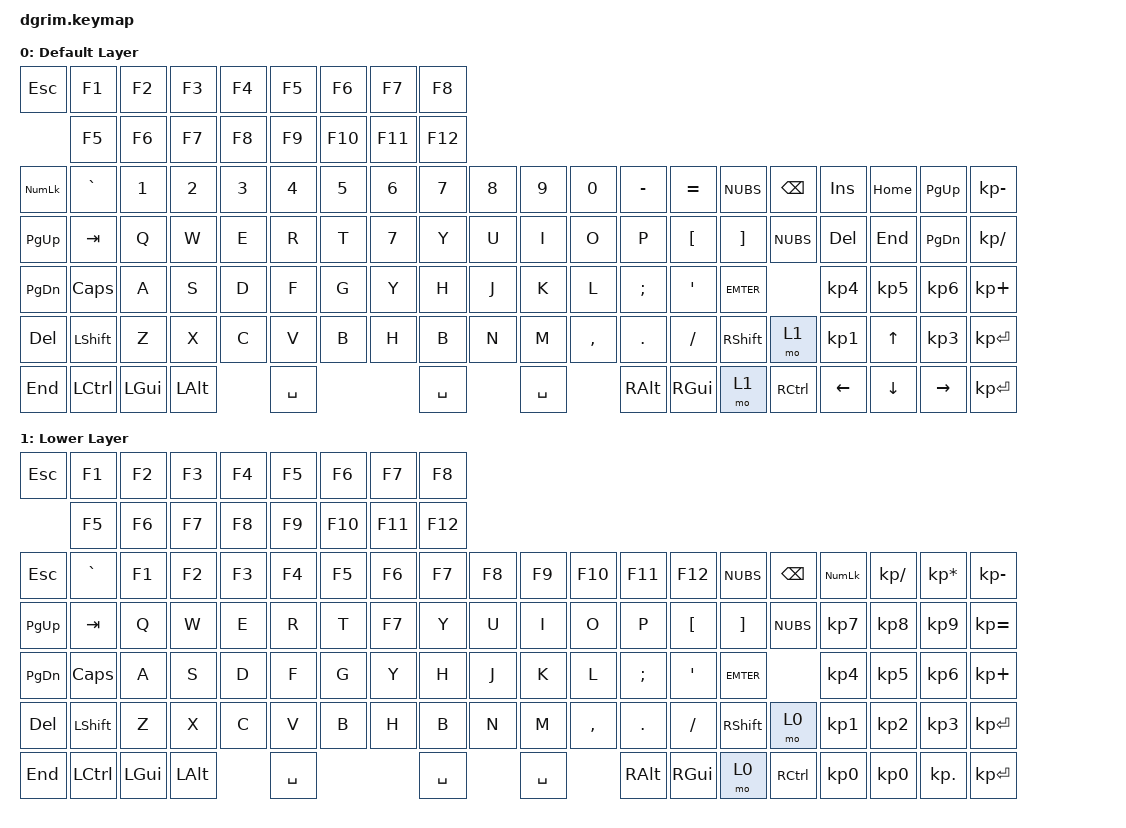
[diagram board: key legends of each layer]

/*
 * Copyright (c) 2020 The ZMK Contributors
 *
 * SPDX-License-Identifier: MIT
 */

#include <behaviors.dtsi>
#include <dt-bindings/zmk/keys.h>
#include <dt-bindings/zmk/bt.h>

/ {
        keymap {
                compatible = "zmk,keymap";

                default_layer {  //  LAYER 0
                  display-name = "Default Layer";
// -----------------------------------------------------------------------------------------
// | ESC |  F1  |  F2  |  F3  |  F4  |  F5  | F6  |  F7   |  F8  |
// |     |  F5  |  F6  |  F7  |  F8  |  F9  | F10 |  F11  |  F12 |

// | NUM |  `  |  1  |  2  |  3  |  4  |  5  |  6   |            |  7  |  8  |  9  |  0  |  -  |  =  |  `  | BSPC |        | INS | HOM | PU  | - |
// |  PU | TAB |  Q  |  W  |  E  |  R  |  T  |  7   |            |  Y  |  U  |  I  |  O  |  P  |  [  |  ]  |   \  |        | DEL | END | PD  | / |
// |  PD | CAP |  A  |  S  |  D  |  F  |  G  |  Y   |            |  H  |  J  |  K  |  L  |  ;  |  '  | ENT |               |  4  |  5  |  6  | + |
// | DEL | SHF |  Z  |  X  |  C  |  V  |  B  |  H   |            |  B  |  N  |  M  |  ,  |  .  |  /  | SHF |  FN  |        |  1  |  UP |  3  | ENT |
// | END | CRT | WIN | ALT |     | SPA |                         | SPA | SPA | ALT |     |     | MENU| FN  |  CRT |        | LEFT| DOWN|RIGHT| ENT |

                        bindings = <
   &kp ESC   &kp F1  &kp F2  &kp F3  &kp F4   &kp F5  &kp F6   &kp F7   &kp F8     
             &kp F5  &kp F6  &kp F7  &kp F8   &kp F9  &kp F10  &kp F11  &kp F12    
   
   &kp KP_NUM  &kp GRAVE &kp 1    &kp 2   &kp 3 &kp 4   &kp 5  &kp 6           &kp 7   &kp 8   &kp 9   &kp 0     &kp MINUS  &kp EQUAL  &kp NUBS   &kp BSPC         &kp INS    &kp HOME   &kp PG_UP   &kp KP_MINUS     
   &kp PG_UP   &kp TAB   &kp Q    &kp W   &kp E &kp R   &kp T  &kp 7           &kp Y   &kp U   &kp I   &kp O     &kp P      &kp LBKT   &kp RBKT   &kp NUBS         &kp DEL    &kp END    &kp PG_DN   &kp KP_DIVIDE  
   &kp PG_DN   &kp CAPS  &kp A    &kp S   &kp D &kp F   &kp G  &kp Y           &kp H   &kp J   &kp K   &kp L     &kp SEMI   &kp APOS   &kp EMTER                   &kp KP_N4  &kp KP_N5  &kp KP_N6   &kp KP_PLUS 
   &kp DEL     &kp LSHFT &kp Z    &kp X   &kp C &kp V   &kp B  &kp H           &kp B   &kp N   &kp M   &kp COMMA &kp DOT    &kp FSLH   &kp RSHFT  &mo 1            &kp KP_N1  &kp UP     &kp KP_N3   &kp KP_ENTER 
   &kp END     &kp LCTRL &kp LGUI &kp LALT      &kp SPACE                      &kp SPACE       &kp SPACE         &kp RALT   &kp RGUI   &mo 1      &kp RCTRL        &kp LEFT   &kp DOWN   &kp RIGHT   &kp KP_ENTER
                                    >;
                        };


                lower_layer {    // LAYER 1
                  display-name = "Lower Layer";
// -----------------------------------------------------------------------------------------
// | ESC |  F1  |  F2  |  F3  |  F4  |  F5  | F6  |  F7   |  F8  |
// |     |  F5  |  F6  |  F7  |  F8  |  F9  | F10 |  F11  |  F12 |

// | NUM |  `  |  1  |  2  |  3  |  4  |  5  |  6   |            |  7  |  8  |  9  |  0  |  -  |  =  |  `  | BSPC |        | INS | HOM | PU  | - |
// |  PU | TAB |  Q  |  W  |  E  |  R  |  T  |  7   |            |  Y  |  U  |  I  |  O  |  P  |  [  |  ]  |   \  |        | DEL | END | PD  | / |
// |  PD | CAP |  A  |  S  |  D  |  F  |  G  |  Y   |            |  H  |  J  |  K  |  L  |  ;  |  '  | ENT |               |  4  |  5  |  6  | + |
// | DEL | SHF |  Z  |  X  |  C  |  V  |  B  |  H   |            |  B  |  N  |  M  |  ,  |  .  |  /  | SHF |  FN  |        |  1  |  UP |  3  | ENT |
// | END | CRT | WIN | ALT |     | SPA |                         | SPA |     | SPA |     | ALT | MENU| FN  |  CRT |        | LEFT| DOWN|RIGHT| ENT |

                        bindings = <
   &kp ESC   &kp F1  &kp F2  &kp F3  &kp F4   &kp F5  &kp F6   &kp F7   &kp F8     
             &kp F5  &kp F6  &kp F7  &kp F8   &kp F9  &kp F10  &kp F11  &kp F12    
   
   &kp ESC   &kp GRAVE &kp F1   &kp F2  &kp F3 &kp F4  &kp F5  &kp F6         &kp F7  &kp F8  &kp F9  &kp F10   &kp F11    &kp F12    &kp NUBS   &kp BSPC         &kp KP_NUM  &kp KP_DIVIDE  &kp KP_MULTIPLY   &kp KP_MINUS     
   &kp PG_UP &kp TAB   &kp Q    &kp W   &kp E  &kp R   &kp T   &kp F7         &kp Y   &kp U   &kp I   &kp O     &kp P      &kp LBKT   &kp RBKT   &kp NUBS         &kp KP_N7   &kp KP_N8      &kp KP_N9         &kp KP_EQUAL
   &kp PG_DN &kp CAPS  &kp A    &kp S   &kp D  &kp F   &kp G   &kp Y          &kp H   &kp J   &kp K   &kp L     &kp SEMI   &kp APOS   &kp EMTER                   &kp KP_N4   &kp KP_N5      &kp KP_N6         &kp KP_PLUS 
   &kp DEL   &kp LSHFT &kp Z    &kp X   &kp C  &kp V   &kp B   &kp H          &kp B   &kp N   &kp M   &kp COMMA &kp DOT    &kp FSLH   &kp RSHFT  &mo 0            &kp KP_N1   &kp KP_N2      &kp KP_N3         &kp KP_ENTER 
   &kp END   &kp LCTRL &kp LGUI &kp LALT       &kp SPACE                      &kp SPACE       &kp SPACE         &kp RALT   &kp RGUI   &mo 0      &kp RCTRL        &kp KP_N0   &kp KP_N0      &kp KP_DOT        &kp KP_ENTER
                                    >;
                        };

        };
};
